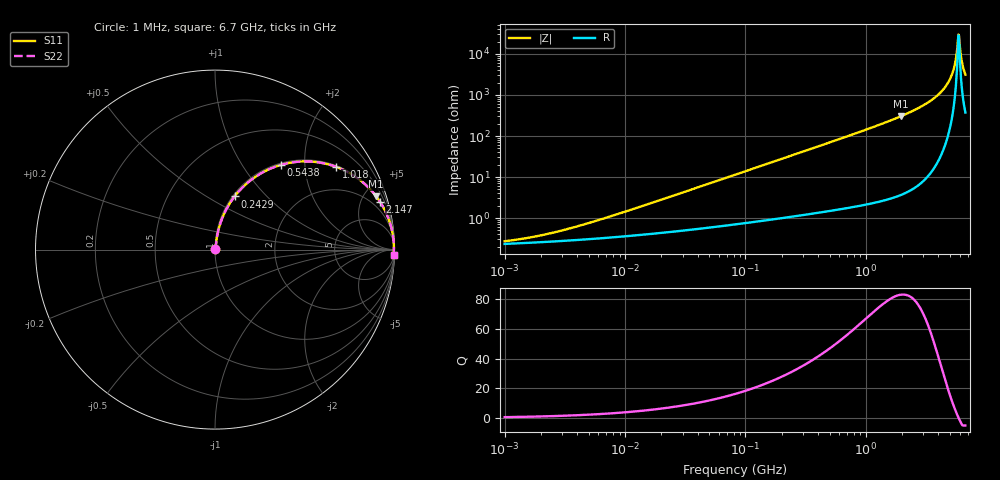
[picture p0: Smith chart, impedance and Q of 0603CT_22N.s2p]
# MHz  S  MA  R  50
!Freq  MagS11  AngS11  MagS21  AngS21  MagS12  AngS12  MagS22  AngS22
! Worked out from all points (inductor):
!   887 points, 1 MHz to 6.7 GHz, reference 50 ohm
!   read as one part in series: L = 22 nH near 7.172 MHz
!   highest Q = 83.2 at 1.943 GHz (marker M1), where L = 24.7 nH
!   self-resonance near 5.865 GHz
!   S11 on the Smith chart (normalised r, x): 1 MHz: 1.00, +0.00; 242.9 MHz: 1.02, +0.67; 543.8 MHz: 1.03, +1.52; 1.018 GHz: 1.04, +2.90; 2.147 GHz: 1.08, +6.84; 6.7 GHz: 8, -62
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1  0.002708 30.5  0.9977 -0.1  0.9977 -0.1  0.002708 30.5
2.026831  0.003799 47.2  0.9974 -0.2  0.9974 -0.2  0.003799 47.2
4.360771  0.006697 63.5  0.997 -0.3  0.997 -0.3  0.006697 63.5
19.01633  0.02651 79.3  0.9954 -1.5  0.9954 -1.5  0.02651 79.3
82.10481  0.1122 80.0  0.9868 -6.4  0.9868 -6.4  0.1122 80.0
242.8837  0.3159 69.8  0.9387 -18.4  0.9387 -18.4  0.3159 69.8
358.0403  0.4405 62.4  0.8865 -26.1  0.8865 -26.1  0.4405 62.4
543.788  0.5984 52.1  0.7891 -36.7  0.7891 -36.7  0.5984 52.1
1017.832  0.8177 34.3  0.5637 -54.8  0.5637 -54.8  0.8177 34.3
1545.873  0.9126 23.4  0.3976 -65.9  0.3976 -65.9  0.9126 23.4
1943.415  0.9458 18.3  0.3137 -71.0  0.3137 -71.0  0.9458 18.3
2146.739  0.9568 16.2  0.2796 -73.1  0.2796 -73.1  0.9568 16.2
3359.24  0.9873 8.2  0.1435 -80.8  0.1435 -80.8  0.9873 8.2
4482.919  0.9953 3.9  0.0676 -84.0  0.0676 -84.0  0.9953 3.9
4902.902  0.9964 2.6  0.04521 -84.1  0.04521 -84.1  0.9964 2.6
5256.575  0.9968 1.6  0.02805 -82.7  0.02805 -82.7  0.9968 1.6
5470.013  0.9969 1.0  0.01836 -79.8  0.01836 -79.8  0.9969 1.0
5749.038  0.9969 0.3  0.006688 -62.2  0.006688 -62.2  0.9969 0.3
5864.594  0.9968 0.1  0.003334 -18.5  0.003334 -18.5  0.9968 0.1
6042.297  0.9967 -0.4  0.007053 61.9  0.007053 61.9  0.9967 -0.4
6350.515  0.9963 -1.1  0.01876 78.2  0.01876 78.2  0.9963 -1.1
6700  0.9957 -1.8  0.03181 81.3  0.03181 81.3  0.9957 -1.8
